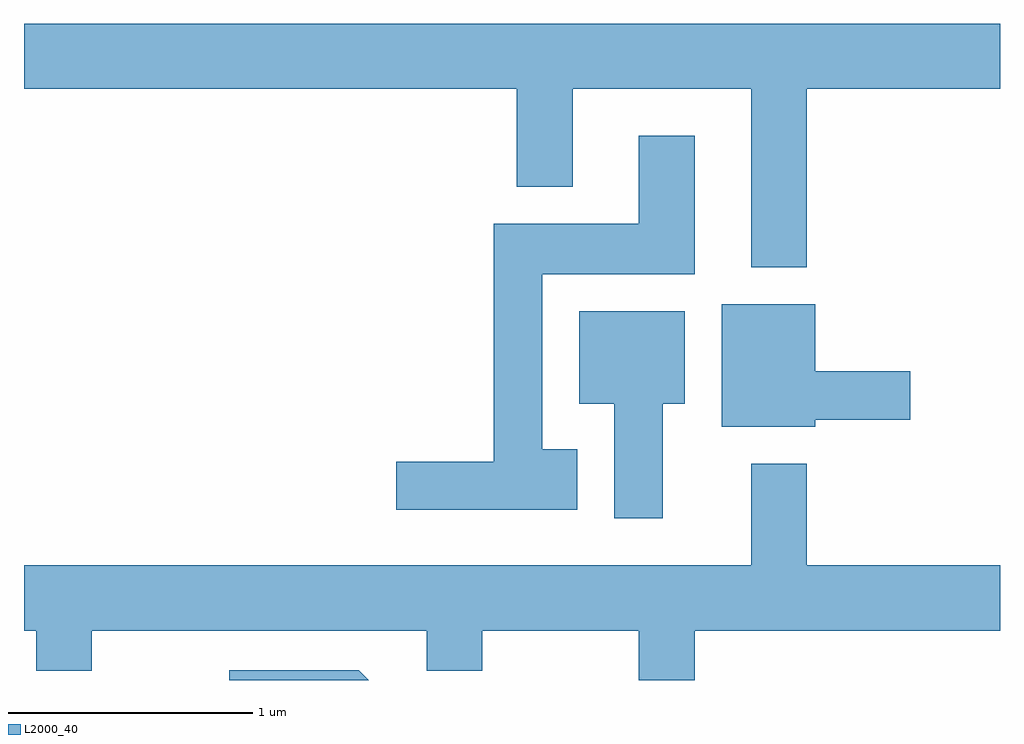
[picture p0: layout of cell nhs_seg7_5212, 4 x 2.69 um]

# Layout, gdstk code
import gdstk
lib = gdstk.Library(unit=1e-6, precision=1e-09)
def P(c, l, *ps):  # polygons
    for p in ps: c.add(gdstk.Polygon(p, *l))
L2000_40 = (2000, 40)

nhs_seg7_5212 = lib.new_cell('nhs_seg7_5212')
P(nhs_seg7_5212, L2000_40, [(346.819,1798.676),(347.611,1798.676),(347.611,1798.944),(343.611,1798.944),(343.611,1798.676),(345.631,1798.676),(345.631,1798.276),(345.859,1798.276),(345.859,1798.676),(346.591,1798.676),(346.591,1797.946),(346.819,1797.946)],
  [(345.879,1797.199),(345.734,1797.199),(345.734,1797.916),(346.359,1797.916),(346.359,1798.484),(346.131,1798.484),(346.131,1798.124),(345.536,1798.124),(345.536,1797.149),(345.136,1797.149),(345.136,1796.951),(345.879,1796.951)],
  [(346.854,1797.321),(347.244,1797.321),(347.244,1797.519),(346.854,1797.519),(346.854,1797.794),(346.471,1797.794),(346.471,1797.291),(346.854,1797.291)],
  [(346.229,1797.386),(346.319,1797.386),(346.319,1797.764),(345.886,1797.764),(345.886,1797.386),(346.031,1797.386),(346.031,1796.916),(346.229,1796.916)],
  [(346.359,1796.456),(347.611,1796.456),(347.611,1796.724),(346.819,1796.724),(346.819,1797.139),(346.591,1797.139),(346.591,1796.724),(343.611,1796.724),(343.611,1796.456),(343.661,1796.456),(343.661,1796.291),(343.889,1796.291),(343.889,1796.456),(345.261,1796.456),(345.261,1796.291),(345.489,1796.291),(345.489,1796.456),(346.131,1796.456),(346.131,1796.252),(346.359,1796.252)],
  [(344.982,1796.294),(344.453,1796.294),(344.453,1796.252),(345.024,1796.252)])

lib.write_gds('nhs_seg7_5212.gds')
